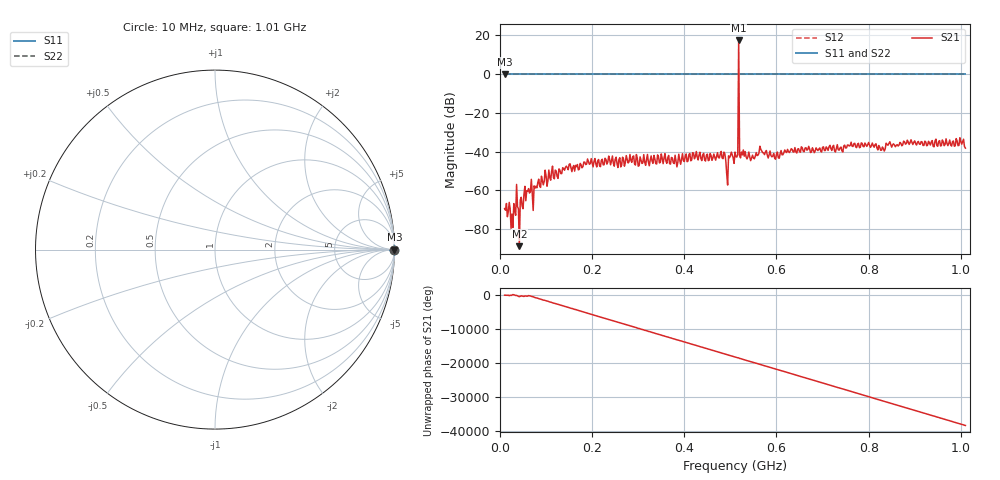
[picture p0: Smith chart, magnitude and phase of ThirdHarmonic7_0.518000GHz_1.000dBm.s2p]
! 8/17/2025 3:10:29 PM
! C:\ANRITSUVNA\TEMP\TEMP.S2P
! CHANNEL.1
! TR.MEASUREMENT
! RAW.DATA
! RF.CORRECTION.OFF
! AVERAGING.OFF
! IF.BANDWIDTH: 5KHZ
! SWEEPTYPE:  FREQ.SWEEP(Linear)
! Reference Plane Port Info
! PORT:  PORT1  PORT2
! DISTANCE:  0  m  0  m
! TIME:  0  s  0  s
! PHASE.OFFSET:  0  deg.  0  deg.
! LOSS:  0  dB  0  dB
! REF.LOSS:  0  dB  0  dB
! REF.FREQ:  0  Hz  0  Hz
! Power Info
! POWER:  -20  dBm  -20  dBm
! EFF.POWER:  -20  dBm  -20  dBm
! SOURCE.ATTEN:  0  dB  0  dB
! TEST.ATTEN:  0  dB  0  dB
# GHZ S RI R 50.0
! FREQ.GHZ  S11RE  S11IM  S21RE  S21IM  S12RE  S12IM  S22RE  S22IM
!; PortSelection: Port_12
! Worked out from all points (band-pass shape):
!   501 points, 10 MHz to 1.01 GHz, reference 50 ohm
!   highest |S21| = 17.42 dB at 518 MHz (marker M1); lowest = -89.0 dB at 42 MHz (marker M2)
!   |S21| within 3 dB of the highest: 517.8983 MHz to 518.1008 MHz (202.5 kHz wide, 0.0391 % of centre)
!   lowest |S11| = 0.0 dB at 10 MHz (marker M3)
!   |S11| at or under -10 dB: nowhere
!   |S22| runs from 0.0 to 0.0 dB; largest |S21 - S12| = 7.2
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0.01  1 0  0.00021 -0.000259  1 0  1 0
0.028  1 0  -8.19e-05 7.06e-05  1 0  1 0
0.034  1 0  -0.000136 -0.000179  1 0  1 0
0.042  1 0  -2.76e-05 -2.26e-05  1 0  1 0
0.058  1 0  0.000837 0.000482  1 0  1 0
0.074  1 0  -4.05e-05 0.00129  1 0  1 0
0.11  1 0  0.000644 0.0017  1 0  1 0
0.178  1 0  -0.00361 -0.00118  1 0  1 0
0.344  1 0  0.00681 -0.00268  1 0  1 0
0.484  1 0  -0.00578 0.00299  1 0  1 0
0.494  1 0  -0.00106 0.000853  1 0  1 0
0.5  1 0  -0.00364 -0.00676  1 0  1 0
0.51  1 0  -0.00963 -0.00044  1 0  1 0
0.512  1 0  -0.000843 0.00729  1 0  1 0
0.514  1 0  0.00617 0.00368  1 0  1 0
0.518  1 0  2.483 -7.004  1 0  1 0
0.522  1 0  0.00215 0.0065  1 0  1 0
0.524  1 0  0.00932 -0.00245  1 0  1 0
0.678  1 0  0.0044 -0.0117  1 0  1 0
0.844  1 0  -0.00502 0.0154  1 0  1 0
1.002  1 0  -0.0119 -0.00992  1 0  1 0
1.01  1 0  -0.0016 -0.0121  1 0  1 0
